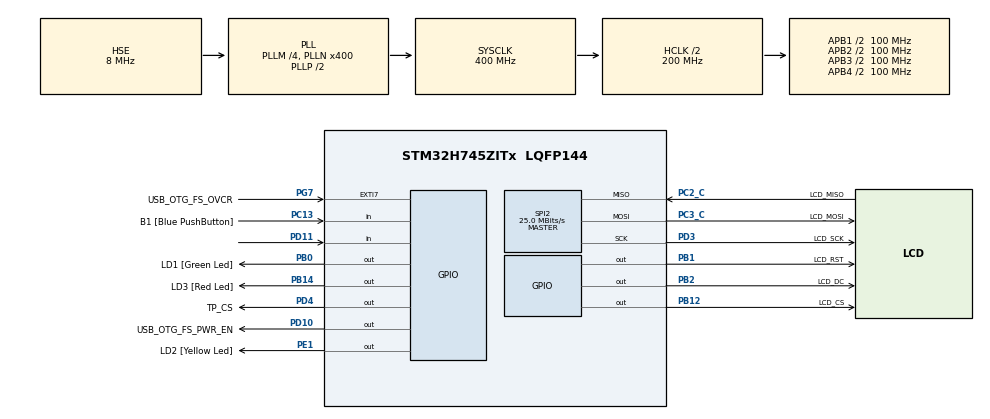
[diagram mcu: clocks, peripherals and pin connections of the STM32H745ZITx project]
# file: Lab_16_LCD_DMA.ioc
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CortexM4.IPs=FATFS_M4\:I,FREERTOS_M4\:I,IWDG2\:I,RCC,WWDG2\:I,DMA,BDMA,MDMA,NVIC2\:I,USART3,ETH,DEBUG,PDM2PCM_M4\:I,PWR,RESMGR_UTILITY,SYS_M4\:I,USB_DEVICE_M4\:I,USB_HOST_M4\:I,CORTEX_M4\:I,GPIO,OPENAMP_M4\:I,VREFBUF
CortexM7.IPs=FATFS_M7\:I,FREERTOS_M7\:I,IWDG1\:I,RCC\:I,WWDG1\:I,DMA\:I,BDMA\:I,MDMA\:I,NVIC1\:I,SYS\:I,USART3\:I,USB_OTG_FS\:I,ETH\:I,CORTEX_M7\:I,DEBUG\:I,PDM2PCM_M7\:I,PWR\:I,RESMGR_UTILITY\:I,USB_DEVICE_M7\:I,USB_HOST_M7\:I,GPIO\:I,OPENAMP_M7\:I,VREFBUF\:I,SPI2\:I,RNG\:I
CortexM7.Pins=PB1,PB2,PB12,PD11,PD4
Dma.Request0=SPI2_TX
Dma.SPI2_TX.0.Direction=DMA_MEMORY_TO_PERIPH
Dma.SPI2_TX.0.EventEnable=DISABLE
Dma.SPI2_TX.0.FIFOMode=DMA_FIFOMODE_DISABLE
Dma.SPI2_TX.0.Instance=DMA1_Stream0
Dma.SPI2_TX.0.MemDataAlignment=DMA_MDATAALIGN_BYTE
Dma.SPI2_TX.0.MemInc=DMA_MINC_ENABLE
Dma.SPI2_TX.0.Mode=DMA_NORMAL
Dma.SPI2_TX.0.PeriphDataAlignment=DMA_PDATAALIGN_BYTE
Dma.SPI2_TX.0.PeriphInc=DMA_PINC_DISABLE
Dma.SPI2_TX.0.Polarity=HAL_DMAMUX_REQ_GEN_RISING
Dma.SPI2_TX.0.Priority=DMA_PRIORITY_LOW
Dma.SPI2_TX.0.RequestNumber=1
Dma.SPI2_TX.0.SignalID=NONE
Dma.SPI2_TX.0.SyncEnable=DISABLE
Dma.SPI2_TX.0.SyncPolarity=HAL_DMAMUX_SYNC_NO_EVENT
Dma.SPI2_TX.0.SyncRequestNumber=1
Dma.SPI2_TX.0.SyncSignalID=NONE
Mcu.Family=STM32H7
Mcu.Name=STM32H745ZITx
Mcu.Package=LQFP144
NVIC1.DMA1_Stream0_IRQn=true\:0\:0\:false\:false\:true\:false\:true\:true
NVIC1.PriorityGroup=NVIC_PRIORITYGROUP_4
NVIC1.SPI2_IRQn=true\:0\:0\:false\:false\:true\:false\:true\:true
NVIC2.PriorityGroup=NVIC_PRIORITYGROUP_4
PA1.PinAttribute=CortexM7
PA1.Signal=ETH_REF_CLK
PA11.PinAttribute=CortexM7
PA11.Signal=USB_OTG_FS_DM
PA12.PinAttribute=CortexM7
PA12.Signal=USB_OTG_FS_DP
PA2.PinAttribute=CortexM7
PA2.Signal=ETH_MDIO
PA7.PinAttribute=CortexM7
PA7.Signal=ETH_CRS_DV
PA8.PinAttribute=CortexM7
PA8.Signal=USB_OTG_FS_SOF
PA9.PinAttribute=CortexM7
PA9.Signal=USB_OTG_FS_VBUS
PB0.GPIO_Label=LD1 [Green Led]
PB0.PinAttribute=Free
PB0.Signal=GPIO_Output
PB1.GPIO_Label=LCD_RST
PB1.GPIO_Speed=GPIO_SPEED_FREQ_VERY_HIGH
PB1.PinAttribute=CortexM7
PB1.PinState=GPIO_PIN_SET
PB1.Signal=GPIO_Output
PB12.GPIO_Label=LCD_CS
PB12.GPIO_Speed=GPIO_SPEED_FREQ_VERY_HIGH
PB12.PinAttribute=CortexM7
PB12.PinState=GPIO_PIN_SET
PB12.Signal=GPIO_Output
PB13.PinAttribute=CortexM7
PB13.Signal=ETH_TXD1
PB14.GPIO_Label=LD3 [Red Led]
PB14.PinAttribute=Free
PB14.Signal=GPIO_Output
PB2.GPIO_Label=LCD_DC
PB2.GPIO_Speed=GPIO_SPEED_FREQ_VERY_HIGH
PB2.PinAttribute=CortexM7
PB2.PinState=GPIO_PIN_SET
PB2.Signal=GPIO_Output
PC1.PinAttribute=CortexM7
PC1.Signal=ETH_MDC
PC13.GPIO_Label=B1 [Blue PushButton]
PC13.PinAttribute=Free
PC13.Signal=GPIO_Input
PC14-OSC32_IN\ (OSC32_IN).PinAttribute=CortexM7
PC14-OSC32_IN\ (OSC32_IN).Signal=RCC_OSC32_IN
PC15-OSC32_OUT\ (OSC32_OUT).PinAttribute=CortexM7
PC15-OSC32_OUT\ (OSC32_OUT).Signal=RCC_OSC32_OUT
PC2_C.GPIO_Label=LCD_MISO
PC2_C.Mode=Full_Duplex_Master
PC2_C.PinAttribute=CortexM7
PC2_C.Signal=SPI2_MISO
PC3_C.GPIO_Label=LCD_MOSI
PC3_C.Mode=Full_Duplex_Master
PC3_C.PinAttribute=CortexM7
PC3_C.Signal=SPI2_MOSI
PC4.PinAttribute=CortexM7
PC4.Signal=ETH_RXD0
PC5.PinAttribute=CortexM7
PC5.Signal=ETH_RXD1
PD10.GPIO_Label=USB_OTG_FS_PWR_EN
PD10.PinAttribute=Free
PD10.Signal=GPIO_Output
PD11.PinAttribute=CortexM7
PD11.Signal=GPIO_Input
PD3.GPIO_Label=LCD_SCK
PD3.Mode=Full_Duplex_Master
PD3.PinAttribute=CortexM7
PD3.Signal=SPI2_SCK
PD4.GPIO_Label=TP_CS
PD4.GPIO_Speed=GPIO_SPEED_FREQ_VERY_HIGH
PD4.PinAttribute=CortexM7
PD4.PinState=GPIO_PIN_SET
PD4.Signal=GPIO_Output
PD8.GPIO_Label=STLINK_RX
PD8.PinAttribute=CortexM7
PD8.Signal=USART3_TX
PD9.GPIO_Label=STLINK_TX
PD9.PinAttribute=CortexM7
PD9.Signal=USART3_RX
PE1.GPIO_Label=LD2 [Yellow Led]
PE1.PinAttribute=Free
PE1.Signal=GPIO_Output
PG11.PinAttribute=CortexM7
PG11.Signal=ETH_TX_EN
PG13.PinAttribute=CortexM7
PG13.Signal=ETH_TXD0
PG7.GPIO_Label=USB_OTG_FS_OVCR
PG7.PinAttribute=Free
PG7.Signal=GPXTI7
PH0-OSC_IN\ (PH0).Mode=HSE-External-Clock-Source
PH0-OSC_IN\ (PH0).PinAttribute=CortexM7
PH0-OSC_IN\ (PH0).Signal=RCC_OSC_IN
PH1-OSC_OUT\ (PH1).PinAttribute=CortexM7
PH1-OSC_OUT\ (PH1).Signal=RCC_OSC_OUT
ProjectManager.HeapSize=M4-0x200,M7-0x400
ProjectManager.StackSize=M4-0x400,M7-0x800
ProjectManager.TargetToolchain=STM32CubeIDE
RCC.ADCFreq_Value=16125000
RCC.APB1Freq_Value=100000000
RCC.APB2Freq_Value=100000000
RCC.APB3Freq_Value=100000000
RCC.APB4Freq_Value=100000000
RCC.CortexFreq_Value=400000000
RCC.D1PPRE=RCC_APB3_DIV2
RCC.D2PPRE1=RCC_APB1_DIV2
RCC.D2PPRE2=RCC_APB2_DIV2
RCC.D3PPRE=RCC_APB4_DIV2
RCC.DIVM1=4
RCC.DIVM3=22
RCC.DIVN1=400
RCC.DIVN3=169
RCC.DIVQ1=4
RCC.DIVQ3=4
RCC.HCLKFreq_Value=200000000
RCC.HPRE=RCC_HCLK_DIV2
RCC.HSE_VALUE=8000000
RCC.PLL2FRACN=0
RCC.PLL3FRACN=0
RCC.PLLFRACN=0
RCC.PLLSourceVirtual=RCC_PLLSOURCE_HSE
RCC.SYSCLKFreq_VALUE=400000000
RCC.SYSCLKSource=RCC_SYSCLKSOURCE_PLLCLK
RCC.SupplySource=PWR_DIRECT_SMPS_SUPPLY
RCC.USBCLockSelection=RCC_USBCLKSOURCE_PLL3
RCC.USBFreq_Value=15363636.363636363
SPI2.BaudRatePrescaler=SPI_BAUDRATEPRESCALER_8
SPI2.CalculateBaudRate=25.0 MBits/s
SPI2.DataSize=SPI_DATASIZE_8BIT
SPI2.Direction=SPI_DIRECTION_2LINES
SPI2.Mode=SPI_MODE_MASTER
SPI2.VirtualType=VM_MASTER
VP_RNG_VS_RNG.Mode=RNG_Activate
VP_SYS_M4_VS_Systick.Mode=SysTick
board=NUCLEO-H745ZI-Q

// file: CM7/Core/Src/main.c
/* USER CODE BEGIN Header */
/**
  ******************************************************************************
  * @file           : main.c
  * @brief          : Main program body
  ******************************************************************************
  * @attention
  *
  * Copyright (c) 2025 STMicroelectronics.
  * All rights reserved.
  *
  * This software is licensed under terms that can be found in the LICENSE file
  * in the root directory of this software component.
  * If no LICENSE file comes with this software, it is provided AS-IS.
  *
  ******************************************************************************
  */
/* USER CODE END Header */
#include "main.h"

/* USER CODE BEGIN Includes */
#include "spi_ili9341.h"
/* USER CODE END Includes */

/* USER CODE BEGIN PV */
extern uint16_t TFT9341_WIDTH;
extern uint16_t TFT9341_HEIGHT;

volatile uint8_t dma_spi_tc_flag = 0;
/* USER CODE END PV */

/* USER CODE BEGIN PFP */
void LCD_Test_1(void);
void LCD_Test_2(void);
void LCD_Test_3(void);
void LCD_Test_4(void);
void LCD_Test_5(void);
void LCD_Test_6(void);
void LCD_Test_7(void);
void LCD_Test_8(void);
void LCD_Test_9(void);
void LCD_Test_10(void);

uint32_t GetRandomNumber(void);
/* USER CODE END PFP */

/* USER CODE BEGIN 0 */
__STATIC_INLINE void DelayMicro(uint32_t __IO micros)
{
  micros *= (SystemCoreClock/1000000);
  while (micros--);
}
/* USER CODE END 0 */

/* USER CODE BEGIN PD */

#ifndef HSEM_ID_0
#define HSEM_ID_0 (0U) /* HW semaphore 0*/
#endif
/* USER CODE END PD */

RNG_HandleTypeDef hrng;

SPI_HandleTypeDef hspi2;
DMA_HandleTypeDef hdma_spi2_tx;

void SystemClock_Config(void);
static void MX_GPIO_Init(void);
static void MX_DMA_Init(void);
static void MX_SPI2_Init(void);
static void MX_RNG_Init(void);

int main(void)
{
/* USER CODE BEGIN Boot_Mode_Sequence_0 */
  int32_t timeout;
/* USER CODE END Boot_Mode_Sequence_0 */

/* USER CODE BEGIN Boot_Mode_Sequence_1 */
  /* Wait until CPU2 boots and enters in stop mode or timeout*/
  timeout = 0xFFFF;
  while((__HAL_RCC_GET_FLAG(RCC_FLAG_D2CKRDY) != RESET) && (timeout-- > 0));
  if ( timeout < 0 )
  {
  Error_Handler();
  }
/* USER CODE END Boot_Mode_Sequence_1 */
  /* MCU Configuration--------------------------------------------------------*/

  /* Reset of all peripherals, Initializes the Flash interface and the Systick. */
  HAL_Init();

  /* Configure the system clock */
  SystemClock_Config();
/* USER CODE BEGIN Boot_Mode_Sequence_2 */
/* When system initialization is finished, Cortex-M7 will release Cortex-M4 by means of
HSEM notification */
/*HW semaphore Clock enable*/
__HAL_RCC_HSEM_CLK_ENABLE();
/*Take HSEM */
HAL_HSEM_FastTake(HSEM_ID_0);
/*Release HSEM in order to notify the CPU2(CM4)*/
HAL_HSEM_Release(HSEM_ID_0,0);
/* wait until CPU2 wakes up from stop mode */
timeout = 0xFFFF;
while((__HAL_RCC_GET_FLAG(RCC_FLAG_D2CKRDY) == RESET) && (timeout-- > 0));
if ( timeout < 0 )
{
Error_Handler();
}
/* USER CODE END Boot_Mode_Sequence_2 */

  /* Initialize all configured peripherals */
  MX_GPIO_Init();
  MX_DMA_Init();
  MX_SPI2_Init();
  MX_RNG_Init();

  /* Infinite loop */
  /* USER CODE BEGIN WHILE */
  TFT9341_ini(240, 320);
    TFT9341_FillScreen(TFT9341_GREEN);
    HAL_Delay(500);
    /* USER CODE END 2 */

    /* Infinite loop */
    /* USER CODE BEGIN WHILE */
    while (1)
    {
      /* USER CODE END WHILE */

      /* USER CODE BEGIN 3 */
      /* Тест: закрашиваем экран случайными цветами. */
      LCD_Test_1();

      /* Тест: заливка экрана четырьмя прямоугольниками случайного цвета. */
      //LCD_Test_2();

      /* Тест: заливка экрана прямоугольниками случайного цвета, размера и расположения. */
      LCD_Test_3();

      /* Тест: вывод в случайных местах точек случайного цвета. */
      //LCD_Test_4();

      /* Тест: отрисовка параллельных отрезков во всю высоту экрана случайнми цветами. */
      //LCD_Test_5();

      /* Тест: черчение отрезков случайного цвета из случайной точки в случайную точку. */
      //LCD_Test_6();

      /* Тест: отрисовка прямоугольников последовательно от края к центру. */
      //LCD_Test_7();

      /* Тест: вывод окружности одинакового радиуса в различных местах экрана. */
      //LCD_Test_8();

      /* Тест: вывод отдельных символов на экран. */
      //LCD_Test_9();

      /* Тест: вывод целых строк с разной ориентацией. */
      //LCD_Test_10();
    }
    /* USER CODE END 3 */
}

void SystemClock_Config(void)
{
  RCC_OscInitTypeDef RCC_OscInitStruct = {0};
  RCC_ClkInitTypeDef RCC_ClkInitStruct = {0};

  /** Supply configuration update enable
  */
  HAL_PWREx_ConfigSupply(PWR_DIRECT_SMPS_SUPPLY);

  /** Configure the main internal regulator output voltage
  */
  __HAL_PWR_VOLTAGESCALING_CONFIG(PWR_REGULATOR_VOLTAGE_SCALE1);

  while(!__HAL_PWR_GET_FLAG(PWR_FLAG_VOSRDY)) {}

  /** Initializes the RCC Oscillators according to the specified parameters
  * in the RCC_OscInitTypeDef structure.
  */
  RCC_OscInitStruct.OscillatorType = RCC_OSCILLATORTYPE_HSI48|RCC_OSCILLATORTYPE_HSE;
  RCC_OscInitStruct.HSEState = RCC_HSE_BYPASS;
  RCC_OscInitStruct.HSI48State = RCC_HSI48_ON;
  RCC_OscInitStruct.PLL.PLLState = RCC_PLL_ON;
  RCC_OscInitStruct.PLL.PLLSource = RCC_PLLSOURCE_HSE;
  RCC_OscInitStruct.PLL.PLLM = 4;
  RCC_OscInitStruct.PLL.PLLN = 400;
  RCC_OscInitStruct.PLL.PLLP = 2;
  RCC_OscInitStruct.PLL.PLLQ = 4;
  RCC_OscInitStruct.PLL.PLLR = 2;
  RCC_OscInitStruct.PLL.PLLRGE = RCC_PLL1VCIRANGE_1;
  RCC_OscInitStruct.PLL.PLLVCOSEL = RCC_PLL1VCOWIDE;
  RCC_OscInitStruct.PLL.PLLFRACN = 0;
  if (HAL_RCC_OscConfig(&RCC_OscInitStruct) != HAL_OK)
  {
    Error_Handler();
  }

  /** Initializes the CPU, AHB and APB buses clocks
  */
  RCC_ClkInitStruct.ClockType = RCC_CLOCKTYPE_HCLK|RCC_CLOCKTYPE_SYSCLK
                              |RCC_CLOCKTYPE_PCLK1|RCC_CLOCKTYPE_PCLK2
                              |RCC_CLOCKTYPE_D3PCLK1|RCC_CLOCKTYPE_D1PCLK1;
  RCC_ClkInitStruct.SYSCLKSource = RCC_SYSCLKSOURCE_PLLCLK;
  RCC_ClkInitStruct.SYSCLKDivider = RCC_SYSCLK_DIV1;
  RCC_ClkInitStruct.AHBCLKDivider = RCC_HCLK_DIV2;
  RCC_ClkInitStruct.APB3CLKDivider = RCC_APB3_DIV2;
  RCC_ClkInitStruct.APB1CLKDivider = RCC_APB1_DIV2;
  RCC_ClkInitStruct.APB2CLKDivider = RCC_APB2_DIV2;
  RCC_ClkInitStruct.APB4CLKDivider = RCC_APB4_DIV2;

  if (HAL_RCC_ClockConfig(&RCC_ClkInitStruct, FLASH_LATENCY_2) != HAL_OK)
  {
    Error_Handler();
  }
}

/* USER CODE BEGIN 4 */
/* Тест: закрашиваем экран случайными цветами. */
void LCD_Test_1(void)
{
  for (int i = 0; i < 20; i++) {
    TFT9341_FillScreen(TFT9341_RandColor());
    HAL_Delay(150);
  }
  HAL_Delay(500);
  TFT9341_FillScreen(TFT9341_BLACK);
}

/* Тест: заливка экрана четырьмя прямоугольниками случайного цвета. */
void LCD_Test_2(void)
{
  for (int i = 0; i < 20; i++) {
    TFT9341_FillRect(0, 0, TFT9341_WIDTH/2-1, TFT9341_HEIGHT/2-1, TFT9341_RandColor());
    HAL_Delay(100);
    TFT9341_FillRect(TFT9341_WIDTH/2, 0, TFT9341_WIDTH-1, TFT9341_HEIGHT/2-1, TFT9341_RandColor());
    HAL_Delay(100);
    TFT9341_FillRect(0, TFT9341_HEIGHT/2, TFT9341_WIDTH/2-1, TFT9341_HEIGHT-1, TFT9341_RandColor());
    HAL_Delay(100);
    TFT9341_FillRect(TFT9341_WIDTH/2, TFT9341_HEIGHT/2, TFT9341_WIDTH-1, TFT9341_HEIGHT-1, TFT9341_RandColor());
    HAL_Delay(100);
  }
  HAL_Delay(500);
  TFT9341_FillScreen(TFT9341_BLACK);
}

/* Тест: заливка экрана прямоугольниками случайного цвета, размера и расположения. */
void LCD_Test_3(void)
{
  for (int i = 0; i < 1000; i++) {
    TFT9341_FillRect(GetRandomNumber() % TFT9341_WIDTH,
      GetRandomNumber() % TFT9341_HEIGHT,
      GetRandomNumber() % TFT9341_WIDTH,
      GetRandomNumber() % TFT9341_HEIGHT,
      TFT9341_RandColor());
    HAL_Delay(10);
  }
  HAL_Delay(500);
  TFT9341_FillScreen(TFT9341_BLACK);
}

/* Тест: вывод в случайных местах точек случайного цвета. */
void LCD_Test_4(void)
{
  for (int i = 0; i < 15000; i++) {
    for (int j = 0; j < 100; j++) {
      TFT9341_DrawPixel(GetRandomNumber() % TFT9341_WIDTH,
        GetRandomNumber() % TFT9341_HEIGHT,
        TFT9341_BLACK);
    }
    TFT9341_DrawPixel(GetRandomNumber() % TFT9341_WIDTH,
      GetRandomNumber() % TFT9341_HEIGHT,
      TFT9341_RandColor());
    DelayMicro(100);
  }
  HAL_Delay(500);
}

/* Тест: отрисовка параллельных отрезков во всю высоту экрана случайнми цветами. */
void LCD_Test_5(void)
{
  for (int j = 0; j < 20; j++) {
    for(int i = 0; i < TFT9341_WIDTH; i++) {
      TFT9341_DrawLine(TFT9341_RandColor(), i, 0, i, TFT9341_HEIGHT-1);
    }
  }
  HAL_Delay(500);
  TFT9341_FillScreen(TFT9341_BLACK);
}

/* Тест: черчение отрезков случайного цвета из случайной точки в случайную точку. */
void LCD_Test_6(void)
{
  for (int i = 0; i < 1000; i++) {
    TFT9341_DrawLine(TFT9341_RandColor(),
      GetRandomNumber() % TFT9341_WIDTH,
      GetRandomNumber() % TFT9341_HEIGHT,
      GetRandomNumber() % TFT9341_WIDTH,
      GetRandomNumber() % TFT9341_HEIGHT);
    HAL_Delay(10);
  }
  HAL_Delay(500);
  TFT9341_FillScreen(TFT9341_BLACK);
}

/* Тест: отрисовка прямоугольников последовательно от края к центру. */
void LCD_Test_7(void)
{
  for (int j = 0; j < 20; j++) {
    for(int i = 0; i < TFT9341_WIDTH/2; i++) {
      TFT9341_DrawRect(TFT9341_RandColor(), i, i, TFT9341_WIDTH-i-1, TFT9341_HEIGHT-i-1);
    }
  }
  HAL_Delay(500);
  TFT9341_FillScreen(TFT9341_BLACK);
}

/* Тест: вывод окружности одинакового радиуса в различных местах экрана. */
void LCD_Test_8(void)
{
  for(int i = 0; i < 2000; i++) {
    TFT9341_DrawCircle(GetRandomNumber() % (TFT9341_WIDTH-40)+20,
      GetRandomNumber() % (TFT9341_HEIGHT-40)+20,
      20, TFT9341_RandColor());
    HAL_Delay(3);
  }
  HAL_Delay(500);
  TFT9341_FillScreen(TFT9341_BLACK);
}

/* Тест: вывод отдельных символов на экран. */
void LCD_Test_9(void)
{
  TFT9341_SetTextColor(TFT9341_YELLOW);
  TFT9341_SetBackColor(TFT9341_BLUE);
  TFT9341_SetFont(&Font24);
  TFT9341_DrawChar(10,10,'S');
  TFT9341_DrawChar(27,10,('t'));
  TFT9341_DrawChar(44,10,('m'));
  TFT9341_DrawChar(61,10,('3'));
  TFT9341_DrawChar(78,10,('2'));
  TFT9341_SetTextColor(TFT9341_GREEN);
  TFT9341_SetBackColor(TFT9341_RED);
  TFT9341_SetFont(&Font20);
  TFT9341_DrawChar(10,34,('S'));
  TFT9341_DrawChar(24,34,('t'));
  TFT9341_DrawChar(38,34,('m'));
  TFT9341_DrawChar(52,34,('3'));
  TFT9341_DrawChar(66,34,('2'));
  TFT9341_SetTextColor(TFT9341_BLUE);
  TFT9341_SetBackColor(TFT9341_YELLOW);
  TFT9341_SetFont(&Font16);
  TFT9341_DrawChar(10,54,('S'));
  TFT9341_DrawChar(21,54,('t'));
  TFT9341_DrawChar(32,54,('m'));
  TFT9341_DrawChar(43,54,('3'));
  TFT9341_DrawChar(54,54,('2'));
  TFT9341_SetTextColor(TFT9341_CYAN);
  TFT9341_SetBackColor(TFT9341_BLACK);
  TFT9341_SetFont(&Font12);
  TFT9341_DrawChar(10,70,('S'));
  TFT9341_DrawChar(17,70,('t'));
  TFT9341_DrawChar(24,70,('m'));
  TFT9341_DrawChar(31,70,('3'));
  TFT9341_DrawChar(38,70,('2'));
  TFT9341_SetTextColor(TFT9341_RED);
  TFT9341_SetBackColor(TFT9341_GREEN);
  TFT9341_SetFont(&Font8);
  TFT9341_DrawChar(10,82,('S'));
  TFT9341_DrawChar(15,82,('t'));
  TFT9341_DrawChar(20,82,('m'));
  TFT9341_DrawChar(25,82,('3'));
  TFT9341_DrawChar(30,82,('2'));
  TFT9341_SetTextColor(TFT9341_YELLOW);
  TFT9341_SetBackColor(TFT9341_BLUE);
  HAL_Delay(2000);
  TFT9341_FillScreen(TFT9341_BLACK);
}

/* Тест: вывод целых строк с разной ориентацией. */
void LCD_Test_10(void)
{
  for (int i = 0; i < 16; i++) {
    TFT9341_SetRotation(i % 4);
    TFT9341_SetFont(&Font24);
    TFT9341_FillScreen(TFT9341_BLACK);
    TFT9341_String(1, 100, "ABCDEF12345678");
    TFT9341_SetFont(&Font20);
    TFT9341_String(1, 124, "ABCDEFGHI12345678");
    TFT9341_SetFont(&Font16);
    TFT9341_String(1, 144, "ABCDEFGHIKL123456789");
    TFT9341_SetFont(&Font12);
    TFT9341_String(1, 160, "ABCDEFGHIKLMNOPQRSTUVWXY 123456789");
    TFT9341_SetFont(&Font8);
    TFT9341_String(1, 172, "ABCDEFGHIKLMNOPQRSTUVWXYZ 123456789ABCDEFGHIKL");
    HAL_Delay(2000);
  }
  HAL_Delay(10000);
  TFT9341_SetRotation(0);
}

uint32_t GetRandomNumber(void)
{
  uint32_t random32bit;
  HAL_RNG_GenerateRandomNumber(&hrng, &random32bit);
  return random32bit;
}

void HAL_SPI_TxCpltCallback(SPI_HandleTypeDef *hspi)
{
  if (hspi == &hspi2) {
    dma_spi_tc_flag = 1;
    }
}
/* USER CODE END 4 */

static void MX_RNG_Init(void)
{

  hrng.Instance = RNG;
  hrng.Init.ClockErrorDetection = RNG_CED_ENABLE;
  if (HAL_RNG_Init(&hrng) != HAL_OK)
  {
    Error_Handler();
  }

}

static void MX_SPI2_Init(void)
{

  /* SPI2 parameter configuration*/
  hspi2.Instance = SPI2;
  hspi2.Init.Mode = SPI_MODE_MASTER;
  hspi2.Init.Direction = SPI_DIRECTION_2LINES;
  hspi2.Init.DataSize = SPI_DATASIZE_8BIT;
  hspi2.Init.CLKPolarity = SPI_POLARITY_LOW;
  hspi2.Init.CLKPhase = SPI_PHASE_1EDGE;
  hspi2.Init.NSS = SPI_NSS_SOFT;
  hspi2.Init.BaudRatePrescaler = SPI_BAUDRATEPRESCALER_8;
  hspi2.Init.FirstBit = SPI_FIRSTBIT_MSB;
  hspi2.Init.TIMode = SPI_TIMODE_DISABLE;
  hspi2.Init.CRCCalculation = SPI_CRCCALCULATION_DISABLE;
  hspi2.Init.CRCPolynomial = 0x0;
  hspi2.Init.NSSPMode = SPI_NSS_PULSE_ENABLE;
  hspi2.Init.NSSPolarity = SPI_NSS_POLARITY_LOW;
  hspi2.Init.FifoThreshold = SPI_FIFO_THRESHOLD_01DATA;
  hspi2.Init.TxCRCInitializationPattern = SPI_CRC_INITIALIZATION_ALL_ZERO_PATTERN;
  hspi2.Init.RxCRCInitializationPattern = SPI_CRC_INITIALIZATION_ALL_ZERO_PATTERN;
  hspi2.Init.MasterSSIdleness = SPI_MASTER_SS_IDLENESS_00CYCLE;
  hspi2.Init.MasterInterDataIdleness = SPI_MASTER_INTERDATA_IDLENESS_00CYCLE;
  hspi2.Init.MasterReceiverAutoSusp = SPI_MASTER_RX_AUTOSUSP_DISABLE;
  hspi2.Init.MasterKeepIOState = SPI_MASTER_KEEP_IO_STATE_DISABLE;
  hspi2.Init.IOSwap = SPI_IO_SWAP_DISABLE;
  if (HAL_SPI_Init(&hspi2) != HAL_OK)
  {
    Error_Handler();
  }

}

static void MX_DMA_Init(void)
{

  /* DMA controller clock enable */
  __HAL_RCC_DMA1_CLK_ENABLE();

  /* DMA interrupt init */
  /* DMA1_Stream0_IRQn interrupt configuration */
  HAL_NVIC_SetPriority(DMA1_Stream0_IRQn, 0, 0);
  HAL_NVIC_EnableIRQ(DMA1_Stream0_IRQn);

}

static void MX_GPIO_Init(void)
{
  GPIO_InitTypeDef GPIO_InitStruct = {0};

  /* GPIO Ports Clock Enable */
  __HAL_RCC_GPIOC_CLK_ENABLE();
  __HAL_RCC_GPIOH_CLK_ENABLE();
  __HAL_RCC_GPIOA_CLK_ENABLE();
  __HAL_RCC_GPIOB_CLK_ENABLE();
  __HAL_RCC_GPIOD_CLK_ENABLE();
  __HAL_RCC_GPIOG_CLK_ENABLE();

  /*Configure GPIO pin Output Level */
  HAL_GPIO_WritePin(GPIOB, LCD_RST_Pin|LCD_DC_Pin|LCD_CS_Pin, GPIO_PIN_SET);

  /*Configure GPIO pin Output Level */
  HAL_GPIO_WritePin(TP_CS_GPIO_Port, TP_CS_Pin, GPIO_PIN_SET);

  /*Configure GPIO pins : PC1 PC4 PC5 */
  GPIO_InitStruct.Pin = GPIO_PIN_1|GPIO_PIN_4|GPIO_PIN_5;
  GPIO_InitStruct.Mode = GPIO_MODE_AF_PP;
  GPIO_InitStruct.Pull = GPIO_NOPULL;
  GPIO_InitStruct.Speed = GPIO_SPEED_FREQ_LOW;
  GPIO_InitStruct.Alternate = GPIO_AF11_ETH;
  HAL_GPIO_Init(GPIOC, &GPIO_InitStruct);

  /*Configure GPIO pins : PA1 PA2 PA7 */
  GPIO_InitStruct.Pin = GPIO_PIN_1|GPIO_PIN_2|GPIO_PIN_7;
  GPIO_InitStruct.Mode = GPIO_MODE_AF_PP;
  GPIO_InitStruct.Pull = GPIO_NOPULL;
  GPIO_InitStruct.Speed = GPIO_SPEED_FREQ_LOW;
  GPIO_InitStruct.Alternate = GPIO_AF11_ETH;
  HAL_GPIO_Init(GPIOA, &GPIO_InitStruct);

  /*Configure GPIO pins : LCD_RST_Pin LCD_DC_Pin LCD_CS_Pin */
  GPIO_InitStruct.Pin = LCD_RST_Pin|LCD_DC_Pin|LCD_CS_Pin;
  GPIO_InitStruct.Mode = GPIO_MODE_OUTPUT_PP;
  GPIO_InitStruct.Pull = GPIO_NOPULL;
  GPIO_InitStruct.Speed = GPIO_SPEED_FREQ_VERY_HIGH;
  HAL_GPIO_Init(GPIOB, &GPIO_InitStruct);

  /*Configure GPIO pin : PB13 */
  GPIO_InitStruct.Pin = GPIO_PIN_13;
  GPIO_InitStruct.Mode = GPIO_MODE_AF_PP;
  GPIO_InitStruct.Pull = GPIO_NOPULL;
  GPIO_InitStruct.Speed = GPIO_SPEED_FREQ_LOW;
  GPIO_InitStruct.Alternate = GPIO_AF11_ETH;
  HAL_GPIO_Init(GPIOB, &GPIO_InitStruct);

  /*Configure GPIO pins : PD8 PD9 */
  GPIO_InitStruct.Pin = GPIO_PIN_8|GPIO_PIN_9;
  GPIO_InitStruct.Mode = GPIO_MODE_AF_PP;
  GPIO_InitStruct.Pull = GPIO_NOPULL;
  GPIO_InitStruct.Speed = GPIO_SPEED_FREQ_LOW;
  GPIO_InitStruct.Alternate = GPIO_AF7_USART3;
  HAL_GPIO_Init(GPIOD, &GPIO_InitStruct);

  /*Configure GPIO pin : PD11 */
  GPIO_InitStruct.Pin = GPIO_PIN_11;
  GPIO_InitStruct.Mode = GPIO_MODE_INPUT;
  GPIO_InitStruct.Pull = GPIO_NOPULL;
  HAL_GPIO_Init(GPIOD, &GPIO_InitStruct);

  /*Configure GPIO pins : PA8 PA11 PA12 */
  GPIO_InitStruct.Pin = GPIO_PIN_8|GPIO_PIN_11|GPIO_PIN_12;
  GPIO_InitStruct.Mode = GPIO_MODE_AF_PP;
  GPIO_InitStruct.Pull = GPIO_NOPULL;
  GPIO_InitStruct.Speed = GPIO_SPEED_FREQ_LOW;
  GPIO_InitStruct.Alternate = GPIO_AF10_OTG1_FS;
  HAL_GPIO_Init(GPIOA, &GPIO_InitStruct);

  /*Configure GPIO pin : TP_CS_Pin */
  GPIO_InitStruct.Pin = TP_CS_Pin;
  GPIO_InitStruct.Mode = GPIO_MODE_OUTPUT_PP;
  GPIO_InitStruct.Pull = GPIO_NOPULL;
  GPIO_InitStruct.Speed = GPIO_SPEED_FREQ_VERY_HIGH;
  HAL_GPIO_Init(TP_CS_GPIO_Port, &GPIO_InitStruct);

  /*Configure GPIO pins : PG11 PG13 */
  GPIO_InitStruct.Pin = GPIO_PIN_11|GPIO_PIN_13;
  GPIO_InitStruct.Mode = GPIO_MODE_AF_PP;
  GPIO_InitStruct.Pull = GPIO_NOPULL;
  GPIO_InitStruct.Speed = GPIO_SPEED_FREQ_LOW;
  GPIO_InitStruct.Alternate = GPIO_AF11_ETH;
  HAL_GPIO_Init(GPIOG, &GPIO_InitStruct);

}

void Error_Handler(void)
{
  __disable_irq();
  while (1)
  {
  }
}
